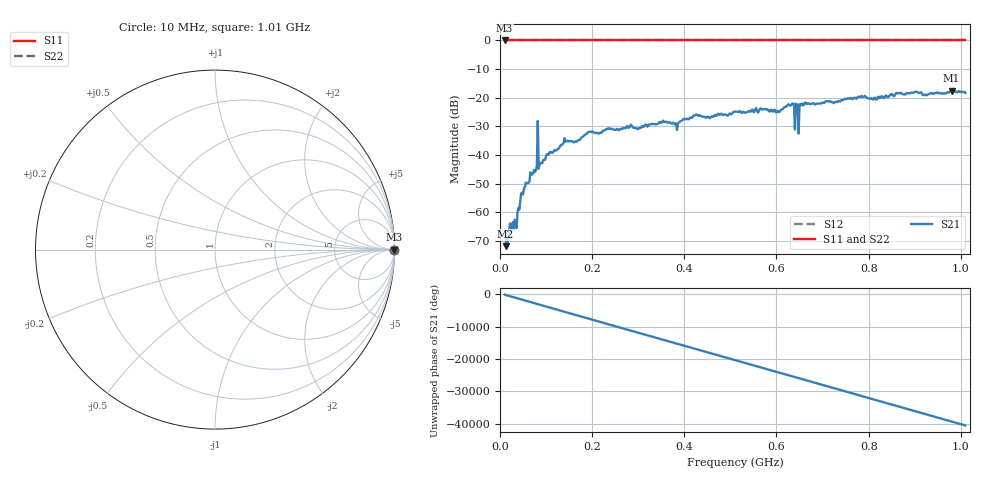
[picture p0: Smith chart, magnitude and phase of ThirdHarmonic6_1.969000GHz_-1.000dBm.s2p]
! 8/16/2025 11:41:32 PM
! C:\ANRITSUVNA\TEMP\TEMP.S2P
! CHANNEL.1
! TR.MEASUREMENT
! RAW.DATA
! RF.CORRECTION.OFF
! AVERAGING.OFF
! IF.BANDWIDTH: 5KHZ
! SWEEPTYPE:  FREQ.SWEEP(Linear)
! Reference Plane Port Info
! PORT:  PORT1  PORT2
! DISTANCE:  0  m  0  m
! TIME:  0  s  0  s
! PHASE.OFFSET:  0  deg.  0  deg.
! LOSS:  0  dB  0  dB
! REF.LOSS:  0  dB  0  dB
! REF.FREQ:  0  Hz  0  Hz
! Power Info
! POWER:  -20  dBm  -20  dBm
! EFF.POWER:  -20  dBm  -20  dBm
! SOURCE.ATTEN:  0  dB  0  dB
! TEST.ATTEN:  0  dB  0  dB
# GHZ S RI R 50.0
! FREQ.GHZ  S11RE  S11IM  S21RE  S21IM  S12RE  S12IM  S22RE  S22IM
!; PortSelection: Port_12
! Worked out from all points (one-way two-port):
!   501 points, 10 MHz to 1.01 GHz, reference 50 ohm
!   highest |S21| = -17.58 dB at 980 MHz (marker M1); lowest = -71.8 dB at 12 MHz (marker M2)
!   lowest |S11| = 0.0 dB at 10 MHz (marker M3)
!   |S11| at or under -10 dB: nowhere
!   |S22| runs from 0.0 to 0.0 dB; largest |S21 - S12| = 1.1
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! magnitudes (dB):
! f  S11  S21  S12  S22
! 10 MHz  0.0  -71.3  0.0  0.0
! 12 MHz  0.0  -71.8  0.0  0.0
! 24 MHz  0.0  -66.9  0.0  0.0
! 34 MHz  0.0  -63.2  0.0  0.0
! 50 MHz  0.0  -53.7  0.0  0.0
! 76 MHz  0.0  -45.8  0.0  0.0
! 78 MHz  0.0  -45.4  0.0  0.0
! 86 MHz  0.0  -43.0  0.0  0.0
! 88 MHz  0.0  -43.1  0.0  0.0
! 142 MHz  0.0  -35.3  0.0  0.0
! 178 MHz  0.0  -33.8  0.0  0.0
! 344 MHz  0.0  -29.0  0.0  0.0
! 382 MHz  0.0  -28.9  0.0  0.0
! 510 MHz  0.0  -24.9  0.0  0.0
! 602 MHz  0.0  -24.5  0.0  0.0
! 634 MHz  0.0  -22.1  0.0  0.0
! 644 MHz  0.0  -22.4  0.0  0.0
! 654 MHz  0.0  -22.1  0.0  0.0
! 678 MHz  0.0  -22.0  0.0  0.0
! 844 MHz  0.0  -19.6  0.0  0.0
! 980 MHz  0.0  -17.6  0.0  0.0
! 1.01 GHz  0.0  -18.3  0.0  0.0
